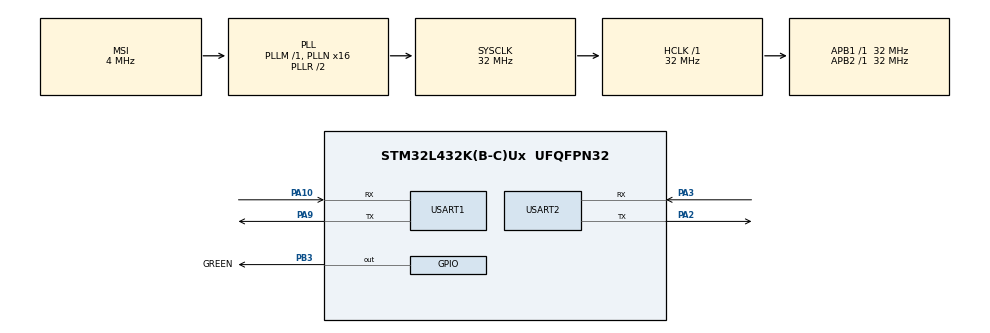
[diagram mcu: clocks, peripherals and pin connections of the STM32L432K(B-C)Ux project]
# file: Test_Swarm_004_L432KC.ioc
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Dma.Request0=USART1_RX
Dma.USART1_RX.0.Direction=DMA_PERIPH_TO_MEMORY
Dma.USART1_RX.0.Instance=DMA1_Channel5
Dma.USART1_RX.0.MemDataAlignment=DMA_MDATAALIGN_BYTE
Dma.USART1_RX.0.MemInc=DMA_MINC_ENABLE
Dma.USART1_RX.0.Mode=DMA_NORMAL
Dma.USART1_RX.0.PeriphDataAlignment=DMA_PDATAALIGN_BYTE
Dma.USART1_RX.0.PeriphInc=DMA_PINC_DISABLE
Dma.USART1_RX.0.Priority=DMA_PRIORITY_LOW
Mcu.Family=STM32L4
Mcu.Name=STM32L432K(B-C)Ux
Mcu.Package=UFQFPN32
NVIC.DMA1_Channel5_IRQn=true\:0\:0\:false\:false\:true\:false\:true\:true
NVIC.PriorityGroup=NVIC_PRIORITYGROUP_4
NVIC.RTC_WKUP_IRQn=true\:0\:0\:false\:false\:true\:true\:true\:true
NVIC.TIM6_DAC_IRQn=true\:0\:0\:false\:false\:true\:true\:true\:true
NVIC.USART1_IRQn=true\:0\:0\:false\:false\:true\:true\:true\:true
PA0.GPIO_Label=MCO [High speed clock in]
PA0.Mode=HSE-External-Clock-Source-for-LittleOrca
PA0.Signal=RCC_CK_IN
PA10.Mode=Asynchronous
PA10.Signal=USART1_RX
PA13\ (JTMS-SWDIO).GPIO_Label=SWDIO
PA13\ (JTMS-SWDIO).Mode=Serial_Wire
PA13\ (JTMS-SWDIO).Signal=SYS_JTMS-SWDIO
PA14\ (JTCK-SWCLK).GPIO_Label=SWCLK
PA14\ (JTCK-SWCLK).Mode=Serial_Wire
PA14\ (JTCK-SWCLK).Signal=SYS_JTCK-SWCLK
PA2.Mode=Asynchronous
PA2.Signal=USART2_TX
PA3.Mode=Asynchronous
PA3.Signal=USART2_RX
PA9.Mode=Asynchronous
PA9.Signal=USART1_TX
PB3\ (JTDO-TRACESWO).GPIO_Label=GREEN
PB3\ (JTDO-TRACESWO).Signal=GPIO_Output
PC14-OSC32_IN\ (PC14).Mode=LSE-External-Oscillator
PC14-OSC32_IN\ (PC14).Signal=RCC_OSC32_IN
PC15-OSC32_OUT\ (PC15).Mode=LSE-External-Oscillator
PC15-OSC32_OUT\ (PC15).Signal=RCC_OSC32_OUT
ProjectManager.HeapSize=0x200
ProjectManager.StackSize=0x400
ProjectManager.TargetToolchain=STM32CubeIDE
RCC.AHBFreq_Value=32000000
RCC.APB1Freq_Value=32000000
RCC.APB1TimFreq_Value=32000000
RCC.APB2Freq_Value=32000000
RCC.APB2TimFreq_Value=32000000
RCC.CortexFreq_Value=32000000
RCC.HCLKFreq_Value=32000000
RCC.HSE_VALUE=8000000
RCC.HSI16_VALUE=16000000
RCC.HSI48_VALUE=48000000
RCC.HSI_VALUE=16000000
RCC.MSI_VALUE=4000000
RCC.PLLMUL=RCC_PLLMUL_4
RCC.PLLN=16
RCC.RTCClockSelection=RCC_RTCCLKSOURCE_LSE
RCC.SYSCLKFreq_VALUE=32000000
RCC.SYSCLKSource=RCC_SYSCLKSOURCE_PLLCLK
RCC.VCOOutputFreq_Value=64000000
RTC.WakeUpClock=RTC_WAKEUPCLOCK_CK_SPRE_16BITS
RTC.WakeUpCounter=120
TIM6.Period=2000-1
TIM6.Prescaler=32000-1
USART1.VirtualMode-Asynchronous=VM_ASYNC
USART2.VirtualMode-Asynchronous=VM_ASYNC
VP_RTC_VS_RTC_Activate.Mode=RTC_Enabled
VP_RTC_VS_RTC_WakeUp_intern.Mode=WakeUp
VP_TIM6_VS_ClockSourceINT.Mode=Enable_Timer
board=NUCLEO-L432KC

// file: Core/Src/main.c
/* USER CODE BEGIN Header */
/**
 * v1.0.1 is great: https://github.com/yabool2001/Test_Swarm_004_L432KC/releases/tag/v1.0.1
 * Aktualne logi do analizy: [2022-10-10 21:25:15.802] Hello! Test_Swarm_004_L432KC started
 * Actual: https://github.com/yabool2001/Test_Swarm_004_L432KC/issues/1
  ******************************************************************************
  * @file           : main.c
  * @brief          : Main program body
  ******************************************************************************
  * @attention
  *
  * Copyright (c) 2022 STMicroelectronics.
  * All rights reserved.
  *
  * This software is licensed under terms that can be found in the LICENSE file
  * in the root directory of this software component.
  * If no LICENSE file comes with this software, it is provided AS-IS.
  *
  ******************************************************************************
  */
/* USER CODE END Header */
#include "main.h"

/* USER CODE BEGIN Includes */
#include <stdlib.h>
#include <stdio.h>
#include <string.h>
/* USER CODE END Includes */

/* USER CODE BEGIN PD */
#define TIM_HANDLER						htim6
#define TIM_INSTANCE					TIM6
#define SWARM_UART_HANDLER				&huart1
#define DBG_UART_HANDLER				&huart2
#define SWARM_UART_INSTANCE				USART1
#define DBG_UART_INSTANCE				USART2
#define UART_TX_TIMEOUT					100
#define SWARM_UART_RX_MAX_BUFF_SIZE		100
#define SWARM_ANSWER_MAX_BUFF_SIZE		100
#define SWARM_UART_TX_MAX_BUFF_SIZE		193
#define DBG_UART_TX_MAX_BUFF_SIZE		200
#define SWARM_TD_MAX_BUFF_SIZE			205 // 192 + 13 = 205
#define M138_INITIALISED				127
/* USER CODE END PD */

RTC_HandleTypeDef hrtc;

TIM_HandleTypeDef htim6;

UART_HandleTypeDef huart1;
UART_HandleTypeDef huart2;
DMA_HandleTypeDef hdma_usart1_rx;

/* USER CODE BEGIN PV */
char             						swarm_uart_rx_buff[SWARM_UART_RX_MAX_BUFF_SIZE] ;
char             						swarm_uart_tx_buff[SWARM_UART_TX_MAX_BUFF_SIZE] ;
char             						swarm_uart_tx_td_buff[SWARM_TD_MAX_BUFF_SIZE] ;
char             						dbg_uart_tx_buff[DBG_UART_TX_MAX_BUFF_SIZE] ;
uint8_t									tim_on = 0 ;
uint8_t									answer_from_swarm = 0 ; // To jest bardzo ważne, bo 0 oznacza otwarty dma, którego nie można otwierać drugi raz, bo się zawiesi
uint8_t									m138_init_status_reg = 0 ; // b0: dev_id, b1: rt rate=0, b2: pw rate = 0, b3: dt rate = 0, b4: gs rate = 0, b5: gj rate = 0, b6: gn rate = 0,
uint8_t									m138_payload_status_reg = 0 ; // b0: pw, b1: gn , b2: mt=0,
uint32_t								m138_dev_id = 0 ;
float									m138_voltage = 0 ;
char									m138_fix[50] ;
char									quotation = 39 ;
uint8_t									bkpt = 0 ;

// SWARM AT Commands
const char*			cs_at						= "$CS" ;
const char*			rt_0_at						= "$RT 0" ;
const char*			rt_q_rate_at				= "$RT ?" ;
const char*			pw_0_at						= "$PW 0" ;
const char*			pw_q_rate_at				= "$PW ?" ;
const char*			pw_mostrecent_at			= "$PW @" ;
const char*			dt_0_at						= "$DT 0" ;
const char*			dt_q_rate_at				= "$DT ?" ;
const char*			gs_0_at						= "$GS 0" ;
const char*			gs_q_rate_at				= "$GS ?" ;
const char*			gj_0_at						= "$GJ 0" ;
const char*			gj_q_rate_at				= "$GJ ?" ;
const char*			gn_0_at						= "$GN 0" ;
const char*			gn_q_rate_at				= "$GN ?" ;
const char*			gn_mostrecent_at			= "$GN @" ;
const char*			mt_del_all_unsent_at		= "$MT D=U" ;
char*				sl_at_comm[15] ;
// SWARM AT Answers
const char*         cs_answer					= "$CS DI=0x" ;
const char*         rt_ok_answer				= "$RT OK*22" ;
const char*         rt_0_answer					= "$RT 0*16" ;
const char*         pw_ok_answer				= "$PW OK*23" ;
const char*         pw_0_answer					= "$PW 0*17" ;
const char*         pw_mostrecent_answer		= "$PW " ;
const char*         dt_ok_answer				= "$DT OK*34" ;
const char*         dt_0_answer					= "$DT 0*00" ;
const char*         gs_ok_answer				= "$GS OK*30" ;
const char*         gs_0_answer					= "$GS 0*04" ;
const char*         gj_ok_answer				= "$GJ OK*29" ;
const char*         gj_0_answer					= "$GJ 0*1d" ;
const char*         gn_ok_answer				= "$GN OK*2d" ;
const char*         gn_0_answer					= "$GN 0*19" ;
const char*         gn_mostrecent_answer		= "$GN " ;
const char*         mt_del_all_unsent_answer	= "$MT " ;
const char*			td_ok_answer				= "$TD OK" ;
const char*         sl_ok_answer				= "$SL OK*3b" ;
const char*         sl_wake_answer				= "$SL WAKE" ;
/* USER CODE END PV */

void SystemClock_Config(void);
static void MX_GPIO_Init(void);
static void MX_DMA_Init(void);
static void MX_USART2_UART_Init(void);
static void MX_RTC_Init(void);
static void MX_USART1_UART_Init(void);
static void MX_TIM6_Init(void);
/* USER CODE BEGIN PFP */
uint8_t 			store_m138_dev_id 			( uint32_t* , char* ) ;
uint8_t 			store_m138_voltage 			( float* , char* ) ;
uint8_t				store_m138_fix				( char* , char* ) ;
void 				reset_m138_var 				( void ) ;
uint8_t				m138_init 					( void ) ;
uint8_t				m138_payload				( void ) ;
uint8_t				m138_del_all_unsent			( void ) ;
uint8_t 			m138_send_message			( void ) ;
uint8_t 			m138_sleep					( unsigned int ) ;
uint8_t				swarm_cc 					( const char* , const char* ) ;
void				set_swarm_uart				( uint8_t ) ;
void 				tim_init 					( void ) ;
void 				tim_start 					( void ) ;
void 				clean_swarm_uart_rx_buff 	( void ) ;
void 				toggle_green 				( void ) ;
HAL_StatusTypeDef 	send_string_2_swarm_uart 	( char* , int ) ;
HAL_StatusTypeDef 	send_string_2_dbg_uart 		( char* ) ;
HAL_StatusTypeDef 	receive_swarm_uart_dma 		( void ) ;
uint8_t				nmea_checksum				( const char* , size_t ) ;
/* USER CODE END PFP */

int main(void)
{

  /* MCU Configuration--------------------------------------------------------*/

  /* Reset of all peripherals, Initializes the Flash interface and the Systick. */
  HAL_Init();

  /* Configure the system clock */
  SystemClock_Config();

  /* Initialize all configured peripherals */
  MX_GPIO_Init();
  MX_DMA_Init();
  MX_USART2_UART_Init();
  MX_RTC_Init();
  MX_USART1_UART_Init();
  MX_TIM6_Init();
  /* USER CODE BEGIN 2 */
  send_string_2_dbg_uart ( "Hello! Test_Swarm_004_L432KC started\n" ) ;
  send_string_2_dbg_uart ( "MCU WAIT 15s for Swarm boot\n" ) ;
  HAL_Delay ( 15000 ) ;
  tim_init () ;
  m138_init () ;

  /* USER CODE END 2 */

  /* Infinite loop */
  /* USER CODE BEGIN WHILE */
  while (1)
  {
	  if ( m138_init_status_reg != M138_INITIALISED )
		  m138_init () ;
	  if ( m138_payload () == 7 )
		  if ( m138_send_message () )
			  HAL_Delay ( 60000 ) ;
	  m138_sleep ( 3000 ) ;
	  set_swarm_uart ( 0 ) ;
	  //bkpt = 1 ;
	  reset_m138_var () ;
	  send_string_2_dbg_uart ( "MCU STOP for 3600 s\n" ) ;

	  HAL_Delay ( 3600000 ) ;

	  set_swarm_uart ( 1 ) ;
	  send_string_2_dbg_uart ( "MCU WAKE UP\n" ) ;

	  //HAL_PWR_EnterSLEEPMode ( PWR_MAINREGULATOR_ON , PWR_STOPENTRY_WFI ) ;
	  //HAL_PWR_EnterSLEEPMode ( PWR_LOWPOWERREGULATOR_ON , PWR_STOPENTRY_WFI ) ;
	  //HAL_PWREx_EnterSTOP2Mode ( PWR_STOPENTRY_WFI ) ;
	  //HAL_PWREx_EnterSTOP1Mode ( PWR_STOPENTRY_WFI ) ;
	  //HAL_PWREx_EnterSTOP0Mode ( PWR_STOPENTRY_WFI ) ;
	  //HAL_PWREx_EnterSHUTDOWNMode () ;

    /* USER CODE END WHILE */

  }
}

void SystemClock_Config(void)
{
  RCC_OscInitTypeDef RCC_OscInitStruct = {0};
  RCC_ClkInitTypeDef RCC_ClkInitStruct = {0};

  /** Configure the main internal regulator output voltage
  */
  if (HAL_PWREx_ControlVoltageScaling(PWR_REGULATOR_VOLTAGE_SCALE1) != HAL_OK)
  {
    Error_Handler();
  }

  /** Configure LSE Drive Capability
  */
  HAL_PWR_EnableBkUpAccess();
  __HAL_RCC_LSEDRIVE_CONFIG(RCC_LSEDRIVE_LOW);

  /** Initializes the RCC Oscillators according to the specified parameters
  * in the RCC_OscInitTypeDef structure.
  */
  RCC_OscInitStruct.OscillatorType = RCC_OSCILLATORTYPE_LSE|RCC_OSCILLATORTYPE_MSI;
  RCC_OscInitStruct.LSEState = RCC_LSE_ON;
  RCC_OscInitStruct.MSIState = RCC_MSI_ON;
  RCC_OscInitStruct.MSICalibrationValue = 0;
  RCC_OscInitStruct.MSIClockRange = RCC_MSIRANGE_6;
  RCC_OscInitStruct.PLL.PLLState = RCC_PLL_ON;
  RCC_OscInitStruct.PLL.PLLSource = RCC_PLLSOURCE_MSI;
  RCC_OscInitStruct.PLL.PLLM = 1;
  RCC_OscInitStruct.PLL.PLLN = 16;
  RCC_OscInitStruct.PLL.PLLP = RCC_PLLP_DIV7;
  RCC_OscInitStruct.PLL.PLLQ = RCC_PLLQ_DIV2;
  RCC_OscInitStruct.PLL.PLLR = RCC_PLLR_DIV2;
  if (HAL_RCC_OscConfig(&RCC_OscInitStruct) != HAL_OK)
  {
    Error_Handler();
  }

  /** Initializes the CPU, AHB and APB buses clocks
  */
  RCC_ClkInitStruct.ClockType = RCC_CLOCKTYPE_HCLK|RCC_CLOCKTYPE_SYSCLK
                              |RCC_CLOCKTYPE_PCLK1|RCC_CLOCKTYPE_PCLK2;
  RCC_ClkInitStruct.SYSCLKSource = RCC_SYSCLKSOURCE_PLLCLK;
  RCC_ClkInitStruct.AHBCLKDivider = RCC_SYSCLK_DIV1;
  RCC_ClkInitStruct.APB1CLKDivider = RCC_HCLK_DIV1;
  RCC_ClkInitStruct.APB2CLKDivider = RCC_HCLK_DIV1;

  if (HAL_RCC_ClockConfig(&RCC_ClkInitStruct, FLASH_LATENCY_1) != HAL_OK)
  {
    Error_Handler();
  }

  /** Enable MSI Auto calibration
  */
  HAL_RCCEx_EnableMSIPLLMode();
}

static void MX_RTC_Init(void)
{

  /** Initialize RTC Only
  */
  hrtc.Instance = RTC;
  hrtc.Init.HourFormat = RTC_HOURFORMAT_24;
  hrtc.Init.AsynchPrediv = 127;
  hrtc.Init.SynchPrediv = 255;
  hrtc.Init.OutPut = RTC_OUTPUT_DISABLE;
  hrtc.Init.OutPutRemap = RTC_OUTPUT_REMAP_NONE;
  hrtc.Init.OutPutPolarity = RTC_OUTPUT_POLARITY_HIGH;
  hrtc.Init.OutPutType = RTC_OUTPUT_TYPE_OPENDRAIN;
  if (HAL_RTC_Init(&hrtc) != HAL_OK)
  {
    Error_Handler();
  }

}

static void MX_TIM6_Init(void)
{

  TIM_MasterConfigTypeDef sMasterConfig = {0};

  htim6.Instance = TIM6;
  htim6.Init.Prescaler = 32000-1;
  htim6.Init.CounterMode = TIM_COUNTERMODE_UP;
  htim6.Init.Period = 2000-1;
  htim6.Init.AutoReloadPreload = TIM_AUTORELOAD_PRELOAD_DISABLE;
  if (HAL_TIM_Base_Init(&htim6) != HAL_OK)
  {
    Error_Handler();
  }
  sMasterConfig.MasterOutputTrigger = TIM_TRGO_RESET;
  sMasterConfig.MasterSlaveMode = TIM_MASTERSLAVEMODE_DISABLE;
  if (HAL_TIMEx_MasterConfigSynchronization(&htim6, &sMasterConfig) != HAL_OK)
  {
    Error_Handler();
  }

}

static void MX_USART1_UART_Init(void)
{

  huart1.Instance = USART1;
  huart1.Init.BaudRate = 115200;
  huart1.Init.WordLength = UART_WORDLENGTH_8B;
  huart1.Init.StopBits = UART_STOPBITS_1;
  huart1.Init.Parity = UART_PARITY_NONE;
  huart1.Init.Mode = UART_MODE_TX_RX;
  huart1.Init.HwFlowCtl = UART_HWCONTROL_NONE;
  huart1.Init.OverSampling = UART_OVERSAMPLING_16;
  huart1.Init.OneBitSampling = UART_ONE_BIT_SAMPLE_DISABLE;
  huart1.AdvancedInit.AdvFeatureInit = UART_ADVFEATURE_NO_INIT;
  if (HAL_UART_Init(&huart1) != HAL_OK)
  {
    Error_Handler();
  }

}

static void MX_USART2_UART_Init(void)
{

  huart2.Instance = USART2;
  huart2.Init.BaudRate = 115200;
  huart2.Init.WordLength = UART_WORDLENGTH_8B;
  huart2.Init.StopBits = UART_STOPBITS_1;
  huart2.Init.Parity = UART_PARITY_NONE;
  huart2.Init.Mode = UART_MODE_TX_RX;
  huart2.Init.HwFlowCtl = UART_HWCONTROL_NONE;
  huart2.Init.OverSampling = UART_OVERSAMPLING_16;
  huart2.Init.OneBitSampling = UART_ONE_BIT_SAMPLE_DISABLE;
  huart2.AdvancedInit.AdvFeatureInit = UART_ADVFEATURE_NO_INIT;
  if (HAL_UART_Init(&huart2) != HAL_OK)
  {
    Error_Handler();
  }

}

static void MX_DMA_Init(void)
{

  /* DMA controller clock enable */
  __HAL_RCC_DMA1_CLK_ENABLE();

  /* DMA interrupt init */
  /* DMA1_Channel5_IRQn interrupt configuration */
  HAL_NVIC_SetPriority(DMA1_Channel5_IRQn, 0, 0);
  HAL_NVIC_EnableIRQ(DMA1_Channel5_IRQn);

}

static void MX_GPIO_Init(void)
{
  GPIO_InitTypeDef GPIO_InitStruct = {0};

  /* GPIO Ports Clock Enable */
  __HAL_RCC_GPIOC_CLK_ENABLE();
  __HAL_RCC_GPIOA_CLK_ENABLE();
  __HAL_RCC_GPIOB_CLK_ENABLE();

  /*Configure GPIO pin Output Level */
  HAL_GPIO_WritePin(GREEN_GPIO_Port, GREEN_Pin, GPIO_PIN_RESET);

  /*Configure GPIO pin : GREEN_Pin */
  GPIO_InitStruct.Pin = GREEN_Pin;
  GPIO_InitStruct.Mode = GPIO_MODE_OUTPUT_PP;
  GPIO_InitStruct.Pull = GPIO_NOPULL;
  GPIO_InitStruct.Speed = GPIO_SPEED_FREQ_LOW;
  HAL_GPIO_Init(GREEN_GPIO_Port, &GPIO_InitStruct);

}

/* USER CODE BEGIN 4 */
uint8_t store_m138_dev_id ( uint32_t* id , char* s )
{
	if ( ! strstr ( s , "DI=0x" ) )
		return 0 ;
	s = strtok ( (char*) s , "=" ) ;
	s = strtok ( NULL , "," ) ;
	*id = (uint32_t) strtol ( s , NULL , 16 ) ;
	return 1 ;
}
uint8_t store_m138_voltage ( float* d , char* s )
{
	if ( ! strstr ( s , "$PW " ) )
		return 0 ;
	s = strtok ( (char*) s , " " ) ;
	s = strtok ( NULL , "," ) ;
	*d = (float) strtof ( s , NULL ) ;
	return 1 ;
}
uint8_t store_m138_fix ( char* d , char* s )
{
	if ( ! strstr ( s , "$GN " ) )
		return 0 ;
	s = strtok ( (char*) s , " " ) ;
	s = strtok ( NULL , "*" ) ;
	size_t l =  strlen ( s ) ;
	memcpy ( d , s , l ) ;
	d[l] = '\0' ;
	return 1 ;
}
void reset_m138_var ()
{
	m138_voltage = 0 ;
	m138_fix[0] = '\0' ;
	m138_payload_status_reg = 0 ;
}

void set_swarm_uart ( uint8_t on )
{
	if ( on )
		__HAL_UART_ENABLE ( SWARM_UART_HANDLER ) ;
	else
		__HAL_UART_DISABLE ( SWARM_UART_HANDLER ) ;
}
uint8_t swarm_cc ( const char* at_command , const char* expected_answer )
{
	uint8_t try ;
	uint8_t cs = nmea_checksum ( at_command , strlen ( at_command ) ) ;
	int l ;

	l = sprintf ( swarm_uart_tx_buff , "%s*%02x\n" , at_command , cs ) ;
	swarm_uart_rx_buff[0] = '\0' ;
	//clean_swarm_uart_rx_buff () ;
	for ( try = 0 ; try < 5 ; try++ )
	{
		tim_start () ;
		/*if ( bkpt )
			__NOP () ;*/
		if ( answer_from_swarm == 0 )
			if ( receive_swarm_uart_dma () != HAL_OK )
			{
				sprintf ( dbg_uart_tx_buff , "try no. %u != HAL_OK for %s\n" , try , at_command ) ;
				send_string_2_dbg_uart ( dbg_uart_tx_buff ) ;
				clean_swarm_uart_rx_buff () ;
			}
		send_string_2_swarm_uart ( swarm_uart_tx_buff , l ) ;
		while ( tim_on )
			if ( answer_from_swarm == 2 )
			{
				if ( strncmp ( td_ok_answer , expected_answer , strlen ( expected_answer ) ) == 0 )
					__NOP () ;
				answer_from_swarm = 0 ;
				//sprintf ( dbg_uart_tx_buff , "try no. %u answer_from_swarm = 2 for %s\n" , try , at_command ) ;
				//send_string_2_dbg_uart ( dbg_uart_tx_buff ) ;
				if ( strncmp ( swarm_uart_rx_buff , expected_answer , strlen ( expected_answer ) ) == 0 )
				{
					//sprintf ( dbg_uart_tx_buff , "try no. %u success for %s\n" , try , at_command ) ;
					//send_string_2_dbg_uart ( dbg_uart_tx_buff ) ;
					return 1 ;
				}
				else
				{
					clean_swarm_uart_rx_buff () ;
					break ;
				}
			}
	}
	sprintf ( dbg_uart_tx_buff , "%s %s\n" , (char*) expected_answer , "not received." ) ;
	send_string_2_dbg_uart ( dbg_uart_tx_buff ) ;
	return 0 ;
}

uint8_t m138_sleep ( unsigned int t )
{
	sprintf ( (char*) sl_at_comm , "$SL S=%u" , t ) ;
	//send_string_2_dbg_uart ( (char*) sl_at_comm ) ;
	if ( swarm_cc ( (const char*) sl_at_comm , sl_ok_answer ) )
	{
		sprintf ( dbg_uart_tx_buff , "Swarm went sleep for %u s\n" , t ) ;
		send_string_2_dbg_uart ( dbg_uart_tx_buff ) ;
		return 1 ;
	}
	return 0 ;
}
uint8_t m138_del_all_unsent	()
{
	if ( swarm_cc ( mt_del_all_unsent_at , mt_del_all_unsent_answer ) )
		return 1 ;
	else
		return 0 ;
}
uint8_t m138_send_message ()
{
	sprintf ( swarm_uart_tx_td_buff , "$TD HD=60,%c%u;%s%c" , quotation,  (unsigned int) m138_dev_id , m138_fix , quotation ) ;
	//send_string_2_dbg_uart ( swarm_uart_tx_td_buff ) ;
	if ( swarm_cc ( swarm_uart_tx_td_buff , td_ok_answer ) )
	{
		receive_swarm_uart_dma () ;
		return 1 ;
	}
	else
		return 0 ;
	//return 1 ;
}

uint8_t m138_payload ()
{
	if ( swarm_cc ( pw_mostrecent_at , pw_mostrecent_answer ) )
		if ( store_m138_voltage ( &m138_voltage , swarm_uart_rx_buff ) )
			m138_payload_status_reg = m138_payload_status_reg | 1 ;
	if ( swarm_cc ( gn_mostrecent_at , gn_mostrecent_answer ) )
		if ( store_m138_fix ( m138_fix , swarm_uart_rx_buff ) )
			m138_payload_status_reg = m138_payload_status_reg | 2 ;
	if ( m138_del_all_unsent () )
		m138_payload_status_reg = m138_payload_status_reg | 4 ;

	sprintf ( dbg_uart_tx_buff , "%s%u\n" , "m138_payload_status_reg = " , m138_payload_status_reg ) ;
	send_string_2_dbg_uart ( dbg_uart_tx_buff ) ;

	return m138_payload_status_reg ;
}
uint8_t m138_init ()
{
	if ( swarm_cc ( cs_at , cs_answer ) )
		if ( store_m138_dev_id ( &m138_dev_id , swarm_uart_rx_buff ) )
			m138_init_status_reg = m138_init_status_reg | 1 ;
	if ( swarm_cc ( rt_0_at , rt_ok_answer ) )
		if ( swarm_cc ( rt_q_rate_at , rt_0_answer ) )
			m138_init_status_reg = m138_init_status_reg | 2 ;
	if ( swarm_cc ( pw_0_at , pw_ok_answer ) )
		if ( swarm_cc ( pw_q_rate_at , pw_0_answer ) )
			m138_init_status_reg = m138_init_status_reg | 4 ;
	if ( swarm_cc ( dt_0_at , dt_ok_answer ) )
		if ( swarm_cc ( dt_q_rate_at , dt_0_answer ) )
			m138_init_status_reg = m138_init_status_reg | 8 ;
	if ( swarm_cc ( gs_0_at , gs_ok_answer ) )
		if ( swarm_cc ( gs_q_rate_at , gs_0_answer ) )
			m138_init_status_reg = m138_init_status_reg | 16 ;
	if ( swarm_cc ( gj_0_at , gj_ok_answer ) )
		if ( swarm_cc ( gj_q_rate_at , gj_0_answer ) )
			m138_init_status_reg = m138_init_status_reg | 32 ;
	if ( swarm_cc ( gn_0_at , gn_ok_answer ) )
		if ( swarm_cc ( gn_q_rate_at , gn_0_answer ) )
			m138_init_status_reg = m138_init_status_reg | 64 ;

	sprintf ( dbg_uart_tx_buff , "%s%u\n" , "m138_init_status_reg = " , m138_init_status_reg ) ;
	send_string_2_dbg_uart ( dbg_uart_tx_buff ) ;

	return m138_init_status_reg ;
}

void clean_swarm_uart_rx_buff ()
{
	uint8_t i ;
	for ( i = 0 ; i < SWARM_UART_RX_MAX_BUFF_SIZE ; i++ )
		swarm_uart_rx_buff[i] = '\0' ;
}

void toggle_green ()
{
	HAL_GPIO_TogglePin ( GREEN_GPIO_Port , GREEN_Pin ) ;
}

HAL_StatusTypeDef send_string_2_swarm_uart ( char* s , int l )
{
	return HAL_UART_Transmit ( SWARM_UART_HANDLER , (uint8_t *) s , l , UART_TX_TIMEOUT ) ;
}
HAL_StatusTypeDef send_string_2_dbg_uart ( char* s )
{
	return HAL_UART_Transmit ( DBG_UART_HANDLER , (uint8_t *) s , strlen ( s ) , UART_TX_TIMEOUT ) ;
}

uint8_t nmea_checksum ( const char *message , size_t len )
{
	size_t i = 0 ;
	uint8_t cs ;
	if ( message [0] == '$' )
		i++ ;
	for ( cs = 0 ; ( i < len ) && message [i] ; i++ )
		cs ^= ( (uint8_t) message [i] ) ;
	return cs;
}

void tim_init ()
{
	__HAL_TIM_CLEAR_IT ( &TIM_HANDLER , TIM_IT_UPDATE ) ;
}
void tim_start ()
{
	HAL_TIM_Base_Start_IT ( &TIM_HANDLER ) ;
	tim_on = 1 ;
}
void HAL_TIM_PeriodElapsedCallback ( TIM_HandleTypeDef *htim )
{
	if ( htim->Instance == TIM_INSTANCE )
	{
		HAL_TIM_Base_Stop_IT ( &TIM_HANDLER ) ;
		tim_on = 0 ;
	}
}

HAL_StatusTypeDef receive_swarm_uart_dma ()
{
	/*
	volatile uint32_t tmp ;
	//USART1->ICR |= USART_ICR_RTOCF;
	tmp = huart1.Instance->ISR ;
	//__HAL_UART_FLUSH_DRREGISTER (SWARM_UART_HANDLER) ;
	HAL_StatusTypeDef idle_f = __HAL_UART_GET_FLAG ( SWARM_UART_HANDLER , UART_FLAG_IDLE ) ;
	HAL_StatusTypeDef ore_f = __HAL_UART_GET_FLAG ( SWARM_UART_HANDLER , UART_FLAG_ORE ) ;
	HAL_StatusTypeDef ne_f = __HAL_UART_GET_FLAG ( SWARM_UART_HANDLER , UART_FLAG_NE ) ;
	HAL_StatusTypeDef fe_f = __HAL_UART_GET_FLAG ( SWARM_UART_HANDLER , UART_FLAG_FE ) ;
	HAL_StatusTypeDef pe_f = __HAL_UART_GET_FLAG ( SWARM_UART_HANDLER , UART_FLAG_PE ) ;

	//__HAL_UART_CLEAR_IDLEFLAG ( SWARM_UART_HANDLER ) ;

	//__HAL_UART_RESET_HANDLE_STATE (SWARM_UART_HANDLER) ;
*/
	HAL_StatusTypeDef r = HAL_UARTEx_ReceiveToIdle_DMA ( SWARM_UART_HANDLER , (uint8_t*) swarm_uart_rx_buff , SWARM_UART_RX_MAX_BUFF_SIZE ) ;
	if ( r == HAL_OK )
	{
		answer_from_swarm = 1 ;
		__HAL_DMA_DISABLE_IT ( &hdma_usart1_rx, DMA_IT_HT ) ; //Disable Half Transfer interrupt.
	}
	else
	{
		__NOP();
	}
	return r ;
}

void HAL_UARTEx_RxEventCallback ( UART_HandleTypeDef *huart , uint16_t Size )
{
    if ( huart->Instance == SWARM_UART_INSTANCE )
    {
    	answer_from_swarm = 2 ;
    	swarm_uart_rx_buff[Size] = '\0' ;
    }
}
/* USER CODE END 4 */

void Error_Handler(void)
{
  __disable_irq();
  while (1)
  {
  }
}
